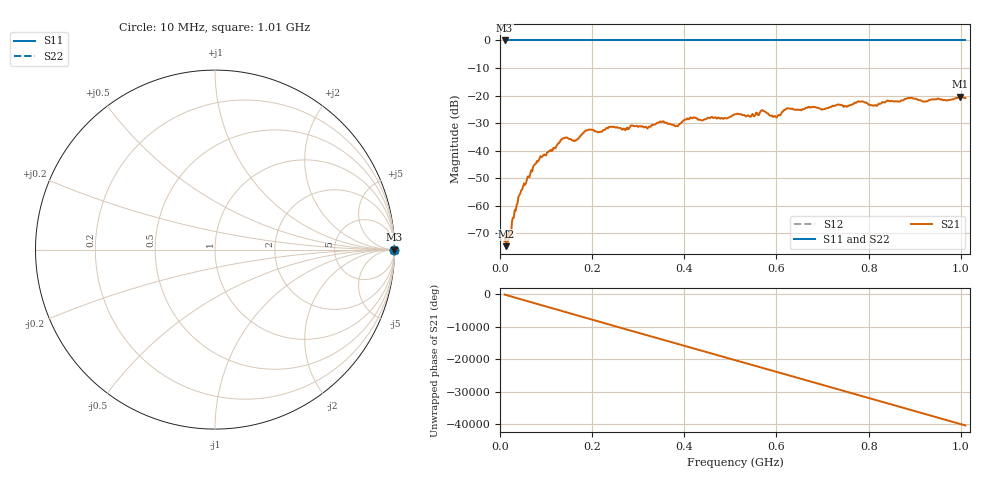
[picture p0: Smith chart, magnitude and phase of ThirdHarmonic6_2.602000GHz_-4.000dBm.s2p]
! 8/17/2025 5:38:21 AM
! C:\ANRITSUVNA\TEMP\TEMP.S2P
! CHANNEL.1
! TR.MEASUREMENT
! RAW.DATA
! RF.CORRECTION.OFF
! AVERAGING.OFF
! IF.BANDWIDTH: 5KHZ
! SWEEPTYPE:  FREQ.SWEEP(Linear)
! Reference Plane Port Info
! PORT:  PORT1  PORT2
! DISTANCE:  0  m  0  m
! TIME:  0  s  0  s
! PHASE.OFFSET:  0  deg.  0  deg.
! LOSS:  0  dB  0  dB
! REF.LOSS:  0  dB  0  dB
! REF.FREQ:  0  Hz  0  Hz
! Power Info
! POWER:  -20  dBm  -20  dBm
! EFF.POWER:  -20  dBm  -20  dBm
! SOURCE.ATTEN:  0  dB  0  dB
! TEST.ATTEN:  0  dB  0  dB
# GHZ S RI R 50.0
! FREQ.GHZ  S11RE  S11IM  S21RE  S21IM  S12RE  S12IM  S22RE  S22IM
!; PortSelection: Port_12
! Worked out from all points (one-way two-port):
!   501 points, 10 MHz to 1.01 GHz, reference 50 ohm
!   highest |S21| = -20.38 dB at 998 MHz (marker M1); lowest = -74.7 dB at 14 MHz (marker M2)
!   lowest |S11| = 0.0 dB at 10 MHz (marker M3)
!   |S11| at or under -10 dB: nowhere
!   |S22| runs from 0.0 to 0.0 dB; largest |S21 - S12| = 1.1
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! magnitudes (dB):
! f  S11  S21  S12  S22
! 10 MHz  0.0  -72.9  0.0  0.0
! 14 MHz  0.0  -74.7  0.0  0.0
! 20 MHz  0.0  -69.1  0.0  0.0
! 44 MHz  0.0  -55.6  0.0  0.0
! 76 MHz  0.0  -44.9  0.0  0.0
! 136 MHz  0.0  -35.6  0.0  0.0
! 162 MHz  0.0  -36.6  0.0  0.0
! 178 MHz  0.0  -34.0  0.0  0.0
! 344 MHz  0.0  -29.9  0.0  0.0
! 382 MHz  0.0  -31.0  0.0  0.0
! 410 MHz  0.0  -28.6  0.0  0.0
! 510 MHz  0.0  -26.8  0.0  0.0
! 548 MHz  0.0  -26.7  0.0  0.0
! 570 MHz  0.0  -25.4  0.0  0.0
! 598 MHz  0.0  -27.6  0.0  0.0
! 624 MHz  0.0  -24.6  0.0  0.0
! 678 MHz  0.0  -24.1  0.0  0.0
! 782 MHz  0.0  -22.2  0.0  0.0
! 814 MHz  0.0  -23.5  0.0  0.0
! 844 MHz  0.0  -22.0  0.0  0.0
! 998 MHz  0.0  -20.4  0.0  0.0
! 1.01 GHz  0.0  -20.9  0.0  0.0
